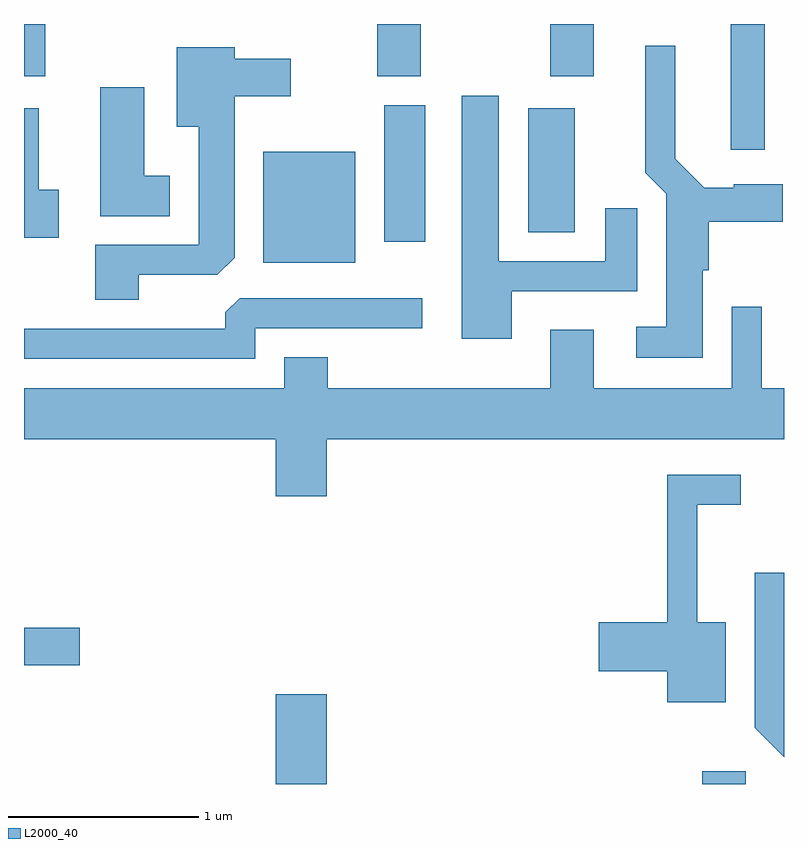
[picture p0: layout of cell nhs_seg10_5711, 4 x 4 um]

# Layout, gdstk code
import gdstk
lib = gdstk.Library(unit=1e-6, precision=1e-09)
def R(c, l, rs):  # rectangles x0, y0, x1, y1
    for r in rs: c.add(gdstk.rectangle(r[:2], r[2:], *l))
def P(c, l, *ps):  # polygons
    for p in ps: c.add(gdstk.Polygon(p, *l))
L2000_40 = (2000, 40)

nhs_seg10_5711 = lib.new_cell('nhs_seg10_5711')
R(nhs_seg10_5711, L2000_40, [(354.936,2136.522,355.204,2136.994), (357.181,2136.522,357.409,2136.589), (353.611,2137.146,353.904,2137.344), (354.871,2139.266,355.354,2139.849), (355.506,2139.376,355.724,2140.094), (356.266,2139.426,356.509,2140.079), (357.331,2139.861,357.509,2140.522), (353.611,2140.246,353.724,2140.522), (355.471,2140.246,355.699,2140.522), (356.381,2140.246,356.609,2140.522)])
P(nhs_seg10_5711, L2000_40, [(357.184,2139.226),(357.214,2139.226),(357.214,2139.481),(357.604,2139.481),(357.604,2139.679),(357.346,2139.679),(357.346,2139.659),(357.192,2139.659),(357.039,2139.812),(357.039,2140.408),(356.881,2140.408),(356.881,2139.739),(356.991,2139.629),(356.991,2138.929),(356.833,2138.929),(356.833,2138.766),(357.184,2138.766)],
  [(354.214,2139.201),(354.629,2139.201),(354.719,2139.292),(354.719,2140.141),(355.014,2140.141),(355.014,2140.339),(354.719,2140.339),(354.719,2140.399),(354.416,2140.399),(354.416,2139.981),(354.531,2139.981),(354.531,2139.359),(353.986,2139.359),(353.986,2139.071),(354.214,2139.071)],
  [(354.379,2139.724),(354.244,2139.724),(354.244,2140.189),(354.011,2140.189),(354.011,2139.511),(354.379,2139.511)],
  [(356.179,2139.116),(356.839,2139.116),(356.839,2139.553),(356.671,2139.553),(356.671,2139.274),(356.109,2139.274),(356.109,2140.144),(355.916,2140.144),(355.916,2138.866),(356.179,2138.866)],
  [(353.794,2139.649),(353.689,2139.649),(353.689,2140.079),(353.611,2140.079),(353.611,2139.396),(353.794,2139.396)],
  [(354.829,2138.921),(355.708,2138.921),(355.708,2139.079),(354.747,2139.079),(354.671,2139.004),(354.671,2138.919),(353.611,2138.919),(353.611,2138.761),(354.829,2138.761)],
  [(355.204,2138.336),(357.611,2138.336),(357.611,2138.604),(357.494,2138.604),(357.494,2139.033),(357.336,2139.033),(357.336,2138.604),(356.609,2138.604),(356.609,2138.914),(356.381,2138.914),(356.381,2138.604),(355.209,2138.604),(355.209,2138.769),(354.981,2138.769),(354.981,2138.604),(353.611,2138.604),(353.611,2138.336),(354.936,2138.336),(354.936,2138.036),(355.204,2138.036)],
  [(357.304,2137.374),(357.154,2137.374),(357.154,2137.991),(357.383,2137.991),(357.383,2138.149),(356.996,2138.149),(356.996,2137.374),(356.636,2137.374),(356.636,2137.116),(356.996,2137.116),(356.996,2136.951),(357.304,2136.951)],
  [(357.611,2137.633),(357.456,2137.633),(357.456,2136.819),(357.611,2136.664)])

lib.write_gds('nhs_seg10_5711.gds')
